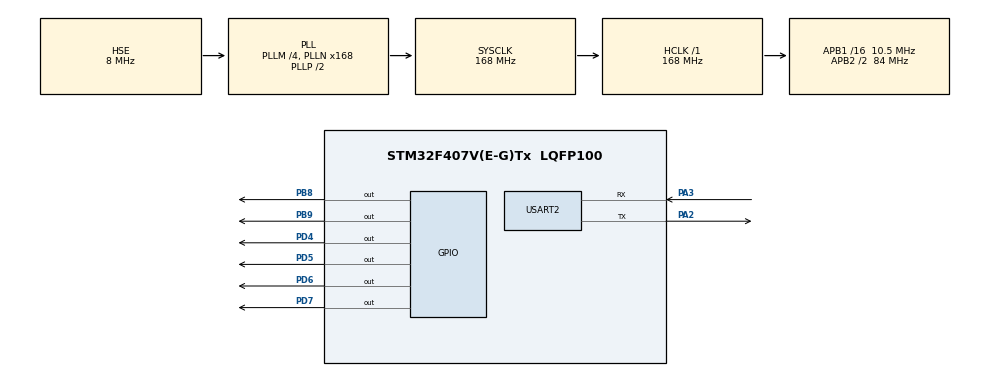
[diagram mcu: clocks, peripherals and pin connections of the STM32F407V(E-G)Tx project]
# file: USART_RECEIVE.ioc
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Mcu.Family=STM32F4
Mcu.Name=STM32F407V(E-G)Tx
Mcu.Package=LQFP100
NVIC.PriorityGroup=NVIC_PRIORITYGROUP_4
NVIC.USART2_IRQn=true\:0\:0\:false\:false\:true
PA2.Mode=Asynchronous
PA2.Signal=USART2_TX
PA3.Mode=Asynchronous
PA3.Signal=USART2_RX
PB8.Signal=GPIO_Output
PB9.Signal=GPIO_Output
PD4.Signal=GPIO_Output
PD5.Signal=GPIO_Output
PD6.Signal=GPIO_Output
PD7.Signal=GPIO_Output
PH0-OSC_IN.Mode=HSE-External-Oscillator
PH0-OSC_IN.Signal=RCC_OSC_IN
PH1-OSC_OUT.Mode=HSE-External-Oscillator
PH1-OSC_OUT.Signal=RCC_OSC_OUT
ProjectManager.HeapSize=0x200
ProjectManager.StackSize=0x400
ProjectManager.TargetToolchain=MDK-ARM V5
RCC.48MHZClocksFreq_Value=84000000
RCC.AHBFreq_Value=168000000
RCC.APB1CLKDivider=RCC_HCLK_DIV16
RCC.APB1Freq_Value=10500000
RCC.APB1TimFreq_Value=21000000
RCC.APB2CLKDivider=RCC_HCLK_DIV2
RCC.APB2Freq_Value=84000000
RCC.APB2TimFreq_Value=168000000
RCC.CortexFreq_Value=168000000
RCC.HCLKFreq_Value=168000000
RCC.HSE_VALUE=8000000
RCC.HSI_VALUE=16000000
RCC.LSE_VALUE=32768
RCC.PLLM=4
RCC.PLLN=168
RCC.PLLSourceVirtual=RCC_PLLSOURCE_HSE
RCC.SYSCLKFreq_VALUE=168000000
RCC.SYSCLKSource=RCC_SYSCLKSOURCE_PLLCLK
RCC.VCOOutputFreq_Value=336000000
board=USART_RECEIVE

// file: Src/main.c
/**
  ******************************************************************************
  * File Name          : main.c
  * Description        : Main program body
  ******************************************************************************
  *
  * COPYRIGHT(c) 2016 STMicroelectronics
  *
  * Redistribution and use in source and binary forms, with or without modification,
  * are permitted provided that the following conditions are met:
  *   1. Redistributions of source code must retain the above copyright notice,
  *      this list of conditions and the following disclaimer.
  *   2. Redistributions in binary form must reproduce the above copyright notice,
  *      this list of conditions and the following disclaimer in the documentation
  *      and/or other materials provided with the distribution.
  *   3. Neither the name of STMicroelectronics nor the names of its contributors
  *      may be used to endorse or promote products derived from this software
  *      without specific prior written permission.
  *
  * THIS SOFTWARE IS PROVIDED BY THE COPYRIGHT HOLDERS AND CONTRIBUTORS "AS IS"
  * AND ANY EXPRESS OR IMPLIED WARRANTIES, INCLUDING, BUT NOT LIMITED TO, THE
  * IMPLIED WARRANTIES OF MERCHANTABILITY AND FITNESS FOR A PARTICULAR PURPOSE ARE
  * DISCLAIMED. IN NO EVENT SHALL THE COPYRIGHT HOLDER OR CONTRIBUTORS BE LIABLE
  * FOR ANY DIRECT, INDIRECT, INCIDENTAL, SPECIAL, EXEMPLARY, OR CONSEQUENTIAL
  * DAMAGES (INCLUDING, BUT NOT LIMITED TO, PROCUREMENT OF SUBSTITUTE GOODS OR
  * SERVICES; LOSS OF USE, DATA, OR PROFITS; OR BUSINESS INTERRUPTION) HOWEVER
  * CAUSED AND ON ANY THEORY OF LIABILITY, WHETHER IN CONTRACT, STRICT LIABILITY,
  * OR TORT (INCLUDING NEGLIGENCE OR OTHERWISE) ARISING IN ANY WAY OUT OF THE USE
  * OF THIS SOFTWARE, EVEN IF ADVISED OF THE POSSIBILITY OF SUCH DAMAGE.
  *
  ******************************************************************************
  */
#include "stm32f4xx_hal.h"

/* USER CODE BEGIN Includes */
#include "main.h"
/* USER CODE END Includes */

UART_HandleTypeDef huart2;

/* USER CODE BEGIN PV */
/* Private variables ---------------------------------------------------------*/

/* USER CODE END PV */

void SystemClock_Config(void);
static void MX_GPIO_Init(void);
static void MX_USART2_UART_Init(void);

/* USER CODE BEGIN PFP */
/* Private function prototypes -----------------------------------------------*/

/* USER CODE END PFP */

int main(void)
{

  /* USER CODE BEGIN 1 */
	char str[9]={0};
  /* USER CODE END 1 */

  /* MCU Configuration----------------------------------------------------------*/

  /* Reset of all peripherals, Initializes the Flash interface and the Systick. */
  HAL_Init();

  /* Configure the system clock */
  SystemClock_Config();

  /* Initialize all configured peripherals */
  MX_GPIO_Init();
  MX_USART2_UART_Init();

  /* USER CODE BEGIN 2 */
	LCD_ini();
	LCD_Clear();
	sprintf(str,"Stm32F407VG");
	LCD_String(str);
	LCD_SetPos(10, 2);
	sprintf(str,"ARM mc");
	LCD_String(str);
	HAL_UART_Receive_IT(&huart2, (uint8_t*) str, 8);
  /* USER CODE END 2 */

  /* Infinite loop */
  /* USER CODE BEGIN WHILE */
  while (1)
  {
	if(huart2.RxXferCount==0)
	{
		HAL_Delay(100);
		LCD_SetPos(0, 3);
		str[8]=0;
		LCD_String(str);
		HAL_UART_Receive_IT(&huart2, (uint8_t*) str, 8);
	}
  /* USER CODE END WHILE */

  }

}

/** System Clock Configuration
*/
void SystemClock_Config(void)
{

  RCC_OscInitTypeDef RCC_OscInitStruct;
  RCC_ClkInitTypeDef RCC_ClkInitStruct;

  __HAL_RCC_PWR_CLK_ENABLE();

  __HAL_PWR_VOLTAGESCALING_CONFIG(PWR_REGULATOR_VOLTAGE_SCALE1);

  RCC_OscInitStruct.OscillatorType = RCC_OSCILLATORTYPE_HSE;
  RCC_OscInitStruct.HSEState = RCC_HSE_ON;
  RCC_OscInitStruct.PLL.PLLState = RCC_PLL_ON;
  RCC_OscInitStruct.PLL.PLLSource = RCC_PLLSOURCE_HSE;
  RCC_OscInitStruct.PLL.PLLM = 4;
  RCC_OscInitStruct.PLL.PLLN = 168;
  RCC_OscInitStruct.PLL.PLLP = RCC_PLLP_DIV2;
  RCC_OscInitStruct.PLL.PLLQ = 4;
  HAL_RCC_OscConfig(&RCC_OscInitStruct);

  RCC_ClkInitStruct.ClockType = RCC_CLOCKTYPE_HCLK|RCC_CLOCKTYPE_SYSCLK
                              |RCC_CLOCKTYPE_PCLK1|RCC_CLOCKTYPE_PCLK2;
  RCC_ClkInitStruct.SYSCLKSource = RCC_SYSCLKSOURCE_PLLCLK;
  RCC_ClkInitStruct.AHBCLKDivider = RCC_SYSCLK_DIV1;
  RCC_ClkInitStruct.APB1CLKDivider = RCC_HCLK_DIV16;
  RCC_ClkInitStruct.APB2CLKDivider = RCC_HCLK_DIV2;
  HAL_RCC_ClockConfig(&RCC_ClkInitStruct, FLASH_LATENCY_5);

  HAL_SYSTICK_Config(HAL_RCC_GetHCLKFreq()/1000);

  HAL_SYSTICK_CLKSourceConfig(SYSTICK_CLKSOURCE_HCLK);

  /* SysTick_IRQn interrupt configuration */
  HAL_NVIC_SetPriority(SysTick_IRQn, 0, 0);
}

/* USART2 init function */
void MX_USART2_UART_Init(void)
{

  huart2.Instance = USART2;
  huart2.Init.BaudRate = 115200;
  huart2.Init.WordLength = UART_WORDLENGTH_8B;
  huart2.Init.StopBits = UART_STOPBITS_1;
  huart2.Init.Parity = UART_PARITY_NONE;
  huart2.Init.Mode = UART_MODE_TX_RX;
  huart2.Init.HwFlowCtl = UART_HWCONTROL_NONE;
  huart2.Init.OverSampling = UART_OVERSAMPLING_16;
  HAL_UART_Init(&huart2);

}

/** Configure pins as
        * Analog
        * Input
        * Output
        * EVENT_OUT
        * EXTI
*/
void MX_GPIO_Init(void)
{

  GPIO_InitTypeDef GPIO_InitStruct;

  /* GPIO Ports Clock Enable */
  __HAL_RCC_GPIOH_CLK_ENABLE();
  __HAL_RCC_GPIOA_CLK_ENABLE();
  __HAL_RCC_GPIOD_CLK_ENABLE();
  __HAL_RCC_GPIOB_CLK_ENABLE();

  /*Configure GPIO pin Output Level */
  HAL_GPIO_WritePin(GPIOD, GPIO_PIN_4|GPIO_PIN_5|GPIO_PIN_6|GPIO_PIN_7, GPIO_PIN_RESET);

  /*Configure GPIO pin Output Level */
  HAL_GPIO_WritePin(GPIOB, GPIO_PIN_8|GPIO_PIN_9, GPIO_PIN_RESET);

  /*Configure GPIO pins : PD4 PD5 PD6 PD7 */
  GPIO_InitStruct.Pin = GPIO_PIN_4|GPIO_PIN_5|GPIO_PIN_6|GPIO_PIN_7;
  GPIO_InitStruct.Mode = GPIO_MODE_OUTPUT_PP;
  GPIO_InitStruct.Pull = GPIO_NOPULL;
  GPIO_InitStruct.Speed = GPIO_SPEED_FREQ_LOW;
  HAL_GPIO_Init(GPIOD, &GPIO_InitStruct);

  /*Configure GPIO pins : PB8 PB9 */
  GPIO_InitStruct.Pin = GPIO_PIN_8|GPIO_PIN_9;
  GPIO_InitStruct.Mode = GPIO_MODE_OUTPUT_PP;
  GPIO_InitStruct.Pull = GPIO_NOPULL;
  GPIO_InitStruct.Speed = GPIO_SPEED_FREQ_LOW;
  HAL_GPIO_Init(GPIOB, &GPIO_InitStruct);

}

/************************ (C) COPYRIGHT STMicroelectronics *****END OF FILE****/
